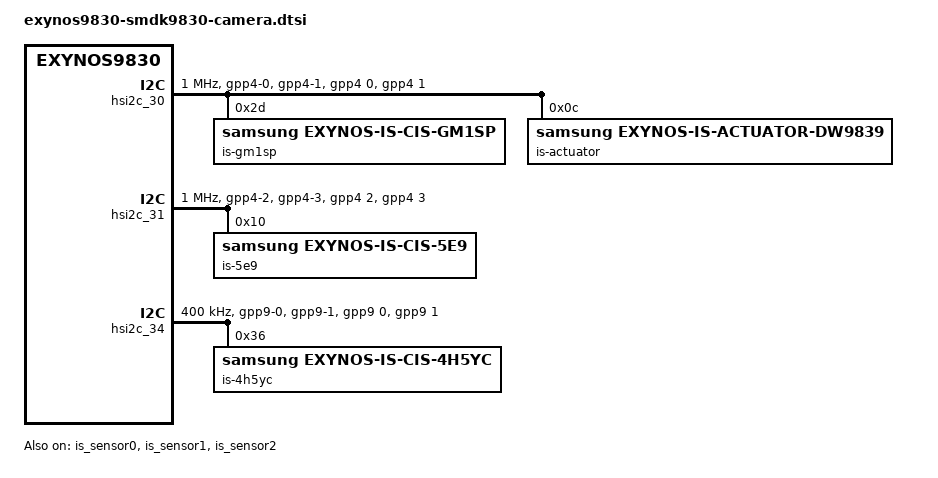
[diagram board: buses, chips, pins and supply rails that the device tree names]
/*
 * Samsung Exynos SoC series Pablo driver
 *
 * Copyright (c) 2019 Samsung Electronics Co., Ltd
 *
 * This program is free software; you can redistribute it and/or modify
 * it under the terms of the GNU General Public License version 2 as
 * published by the Free Software Foundation.
 */

#include <dt-bindings/camera/exynos_is_dt.h>
#include <dt-bindings/interrupt-controller/exynos9830.h>
#include <dt-bindings/clock/exynos9830.h>
#include "camera/module_gm1sp.dtsi"
#include "camera/module_5e9.dtsi"
#include "camera/module_4h5yc.dtsi"

/ {
	fragment@camera {
		target-path = "/";
		__overlay__ {
			/* REAR CAMERA */
			is_sensor_gm1sp: is_sensor_gm1sp@43 {
				pinctrl-names = "pin0", "pin1", "pin2", "release";
				pinctrl-0 = <>;
				pinctrl-1 = <&sensor_mclk0_out>;
				pinctrl-2 = <&sensor_mclk0_fn>;
				pinctrl-3 = <>;

				position = <0>; /* Rear:0. Front:1 */
				id = <0>; /* sensor node id */
				mclk_ch = <0>;
				sensor_i2c_ch = <0>; /* I2C 0 */

				status = "okay";

				af {
					product_name = <23>; /* ACTUATOR_NAME_DW9839 */
					i2c_ch = <0>; /* SENSOR_CONTROL_I2C0 */
				};

				power_seq {
					gpio_mclk = <&gpc0 0 0x1>;

					scenario_normal_on {
						/* A start node number should be over the 10 for reserved number 0~9. */
						/* pname = "name"; pin = <act value dealy voltage>; gpio = <gpx# # 0x1>; */
						10 { pname = "MCLK"; pin = <PIN_MCLK 1 0>; };
						20 { pname = "sen_rst low"; pin = <PIN_OUTPUT 0 0>; gpio = <&gpp9 4 0x1>; };
						30 { pname = "S2MPB02_LDO12"; pin = <PIN_REGULATOR 1 0>; };
						40 { pname = "S2MPB02_LDO13"; pin = <PIN_REGULATOR 1 0>; };
						50 { pname = "S2MPB02_LDO7"; pin = <PIN_REGULATOR 1 0>; };
						60 { pname = "S2MPB02_LDO10"; pin = <PIN_REGULATOR 1 0>; };
						61 { pname = "S2MPB02_LDO16"; pin = <PIN_REGULATOR 1 0>; };
						70 { pname = "S2MPB02_BUCK2"; pin = <PIN_REGULATOR 1 0>; };
						80 { pname = "on_i2c"; pin = <PIN_I2C 1 0>; };
						90 { pname = "pin"; pin = <PIN_FUNCTION 2 0>; };
						100 { pname = "sen_rst high"; pin = <PIN_OUTPUT 1 2000>; gpio = <&gpp9 4 0x1>; };
					};

					scenario_normal_off {
						/* A start node number should be over the 10 for reserved number 0~9. */
						/* pname = "name"; pin = <act value dealy voltage>; gpio = <gpx# # 0x1>; */
						10 { pname = "sen_rst"; pin = <PIN_RESET 0 10>; gpio = <&gpp9 4 0x1>; };
						20 { pname = "sen_rst input"; pin = <PIN_INPUT 0 0>; gpio = <&gpp9 4 0x1>; };
						30 { pname = "S2MPB02_LDO12"; pin = <PIN_REGULATOR 0 0>; };
						40 { pname = "S2MPB02_LDO13"; pin = <PIN_REGULATOR 0 0>; };
						50 { pname = "S2MPB02_LDO7"; pin = <PIN_REGULATOR 0 0>; };
						60 { pname = "S2MPB02_LDO10"; pin = <PIN_REGULATOR 0 0>; };
						61 { pname = "S2MPB02_LDO16"; pin = <PIN_REGULATOR 0 0>; };
						70 { pname = "S2MPB02_BUCK2"; pin = <PIN_REGULATOR 0 0>; };
						80 { pname = "off_i2c"; pin = <PIN_I2C 0 0>; };
						90 { pname = "pin"; pin = <PIN_FUNCTION 0 0>; };
						100 { pname = "pin"; pin = <PIN_FUNCTION 1 0>; };
						110 { pname = "pin"; pin = <PIN_FUNCTION 0 0>; };
						120 { pname = "MCLK"; pin = <PIN_MCLK 0 0>; };
					};

					scenario_vision_on {
						sensor_scenario = <SENSOR_SCENARIO_VISION>;
						gpio_scenario = <GPIO_SCENARIO_ON>;

						/* A start node number should be over the 10 for reserved number 0~9. */
						/* pname = "name"; pin = <act value dealy voltage>; gpio = <gpx# # 0x1>; */
						10 { pname = "MCLK"; pin = <PIN_MCLK 1 0>; };
						20 { pname = "sen_rst low"; pin = <PIN_OUTPUT 0 0>; gpio = <&gpp9 4 0x1>; };
						30 { pname = "S2MPB02_LDO12"; pin = <PIN_REGULATOR 1 0>; };
						40 { pname = "S2MPB02_LDO13"; pin = <PIN_REGULATOR 1 0>; };
						50 { pname = "S2MPB02_LDO7"; pin = <PIN_REGULATOR 1 0>; };
						60 { pname = "S2MPB02_LDO10"; pin = <PIN_REGULATOR 1 0>; };
						61 { pname = "S2MPB02_LDO16"; pin = <PIN_REGULATOR 1 0>; };
						70 { pname = "S2MPB02_BUCK2"; pin = <PIN_REGULATOR 1 0>; };
						80 { pname = "on_i2c"; pin = <PIN_I2C 1 0>; };
						90 { pname = "pin"; pin = <PIN_FUNCTION 2 0>; };
						100 { pname = "sen_rst high"; pin = <PIN_OUTPUT 1 2000>; gpio = <&gpp9 4 0x1>; };
					};

					scenario_vision_off {
						sensor_scenario = <SENSOR_SCENARIO_VISION>;
						gpio_scenario = <GPIO_SCENARIO_OFF>;

						/* A start node number should be over the 10 for reserved number 0~9. */
						/* pname = "name"; pin = <act value dealy voltage>; gpio = <gpx# # 0x1>; */
						10 { pname = "sen_rst"; pin = <PIN_RESET 0 10>; gpio = <&gpp9 4 0x1>; };
						20 { pname = "sen_rst input"; pin = <PIN_INPUT 0 0>; gpio = <&gpp9 4 0x1>; };
						30 { pname = "S2MPB02_LDO12"; pin = <PIN_REGULATOR 0 0>; };
						40 { pname = "S2MPB02_LDO13"; pin = <PIN_REGULATOR 0 0>; };
						50 { pname = "S2MPB02_LDO7"; pin = <PIN_REGULATOR 0 0>; };
						60 { pname = "S2MPB02_LDO10"; pin = <PIN_REGULATOR 0 0>; };
						61 { pname = "S2MPB02_LDO16"; pin = <PIN_REGULATOR 0 0>; };
						70 { pname = "S2MPB02_BUCK2"; pin = <PIN_REGULATOR 0 0>; };
						80 { pname = "off_i2c"; pin = <PIN_I2C 0 0>; };
						90 { pname = "pin"; pin = <PIN_FUNCTION 0 0>; };
						100 { pname = "pin"; pin = <PIN_FUNCTION 1 0>; };
						110 { pname = "pin"; pin = <PIN_FUNCTION 0 0>; };
						120 { pname = "MCLK"; pin = <PIN_MCLK 0 0>; };
					};

				};
			};

			/* FRONT CAMERA */
			is_sensor_4h5yc: is_sensor_4h5yc@24 {
				pinctrl-names = "pin0", "pin1", "pin2", "release";
				pinctrl-0 = <>;
				pinctrl-1 = <&sensor_mclk1_out>;
				pinctrl-2 = <&sensor_mclk1_fn>;
				pinctrl-3 = <>;

				position = <1>; /* Rear:0. Front:1 */
				id = <1>; /* sensor node id */
				mclk_ch = <4>;
				sensor_i2c_ch = <1>;
				sensor_i2c_addr = <0x36>;

				status = "okay";

				power_seq {
					gpio_mclk = <&gpg1 1 0x1>;

					scenario_normal_on {
						/* A start node number should be over the 10 for reserved number 0~9. */
						/* pname = "name"; pin = <act value dealy voltage>; gpio = <gpx# # 0x1>; */
						10 { pname = "sen_rst low"; pin = <PIN_OUTPUT 0 0>; gpio = <&gpp6 6 0x1>; };
						20 { pname = "S2MPB02_LDO15"; pin = <PIN_REGULATOR 1 0>; };
						30 { pname = "S2MPB02_LDO8"; pin = <PIN_REGULATOR 1 0>; };
						40 { pname = "S2MPB02_LDO4"; pin = <PIN_REGULATOR 1 0>; };
						50 { pname = "on_i2c"; pin = <PIN_I2C 1 0>; };
						60 { pname = "pin"; pin = <PIN_FUNCTION 2 0>; };
						70 { pname = "MCLK"; pin = <PIN_MCLK 1 0>; };
						80 { pname = "sen_rst high"; pin = <PIN_OUTPUT 1 0>; gpio = <&gpp6 6 0x1>; };
					};

					scenario_normal_off {
						/* A start node number should be over the 10 for reserved number 0~9. */
						/* pname = "name"; pin = <act value dealy voltage>; gpio = <gpx# # 0x1>; */
						10 { pname = "S2MPB02_LDO15"; pin = <PIN_REGULATOR 0 0>; };
						20 { pname = "S2MPB02_LDO8"; pin = <PIN_REGULATOR 0 0>; };
						30 { pname = "MCLK"; pin = <PIN_MCLK 0 0>; };
						40 { pname = "pin"; pin = <PIN_FUNCTION 0 0>; };
						50 { pname = "sen_rst"; pin = <PIN_OUTPUT 0 0>; gpio = <&gpp6 6 0x1>; };
						60 { pname = "off_i2c"; pin = <PIN_I2C 0 0>; };
						70 { pname = "S2MPB02_LDO4"; pin = <PIN_REGULATOR 0 0>; };
					};

					scenario_vision_on {
						sensor_scenario = <SENSOR_SCENARIO_VISION>;
						gpio_scenario = <GPIO_SCENARIO_ON>;
						/* A start node number should be over the 10 for reserved number 0~9. */
						/* pname = "name"; pin = <act value dealy voltage>; gpio = <gpx# # 0x1>; */
						10 { pname = "sen_rst low"; pin = <PIN_OUTPUT 0 0>; gpio = <&gpp6 6 0x1>; };
						20 { pname = "S2MPB02_LDO15"; pin = <PIN_REGULATOR 1 0>; };
						30 { pname = "S2MPB02_LDO8"; pin = <PIN_REGULATOR 1 0>; };
						40 { pname = "S2MPB02_LDO4"; pin = <PIN_REGULATOR 1 0>; };
						50 { pname = "on_i2c"; pin = <PIN_I2C 1 0>; };
						60 { pname = "pin"; pin = <PIN_FUNCTION 2 0>; };
						70 { pname = "MCLK"; pin = <PIN_MCLK 1 0>; };
						80 { pname = "sen_rst high"; pin = <PIN_OUTPUT 1 0>; gpio = <&gpp6 6 0x1>; };
					};

					scenario_vision_off {
						sensor_scenario = <SENSOR_SCENARIO_VISION>;
						gpio_scenario = <GPIO_SCENARIO_OFF>;
						/* A start node number should be over the 10 for reserved number 0~9. */
						/* pname = "name"; pin = <act value dealy voltage>; gpio = <gpx# # 0x1>; */
						10 { pname = "S2MPB02_LDO15"; pin = <PIN_REGULATOR 0 0>; };
						20 { pname = "S2MPB02_LDO8"; pin = <PIN_REGULATOR 0 0>; };
						30 { pname = "MCLK"; pin = <PIN_MCLK 0 0>; };
						40 { pname = "pin"; pin = <PIN_FUNCTION 0 0>; };
						50 { pname = "sen_rst"; pin = <PIN_OUTPUT 0 0>; gpio = <&gpp6 6 0x1>; };
						60 { pname = "off_i2c"; pin = <PIN_I2C 0 0>; };
						70 { pname = "S2MPB02_LDO4"; pin = <PIN_REGULATOR 0 0>; };
					};

				};

			};

			/* Rear Sub CAMERA */
			is_sensor_5e9: is_sensor_5e9@41 {
				pinctrl-names = "pin0", "pin1", "pin2", "release";
				pinctrl-0 = <>;
				pinctrl-1 = <&sensor_mclk2_out>;
				pinctrl-2 = <&sensor_mclk2_fn>;
				pinctrl-3 = <>;

				/* board */
				position = <2>; /* Rear:0. Front:1, Tele:2 */
				id = <2>; /* fimc_is_sensor id */
				mclk_ch = <1>;
				sensor_i2c_ch = <2>; /* SENSOR_CONTROL_I2C2 */

				af {
					product_name = <100>; /* NOTHING */
				};

				flash {
					product_name = <100>; /* NOTHING */
				};

				preprocessor {
					product_name = <100>; /* NOTHING */
				};

				ois {
					product_name = <100>; /* NOTHING */
				};

				power_seq {
					use = <1>;
					gpio_mclk = <&gpc0 1 0x1>;

					scenario_normal_on {
						sensor_scenario = <SENSOR_SCENARIO_NORMAL>;
						gpio_scenario = <GPIO_SCENARIO_ON>;

						/* A start node number should be over the 10 for reserved number 0~9. */
						/* pname = "name"; pin = <act value dealy voltage>; gpio = <gpx# # 0x1>; */
						10 { pname = "MCLK"; pin = <PIN_MCLK 1 0>; };
						20 { pname = "sen_rst low"; pin = <PIN_OUTPUT 0 0>; gpio = <&gpp6 2 0x1>; };
						30 { pname = "m_vdd_ldo29"; pin = <PIN_REGULATOR 1 0>; };
						40 { pname = "m_vdd_ldo21"; pin = <PIN_REGULATOR 1 0>; };
						50 { pname = "S2MPB02_LDO3"; pin = <PIN_REGULATOR 1 0>; };
						60 { pname = "pin"; pin = <PIN_FUNCTION 2 1000>; };
						70 { pname = "sen_rst high"; pin = <PIN_OUTPUT 1 1000>; gpio = <&gpp6 2 0x1>; };
						80 { pname = "on_i2c"; pin = <PIN_I2C 1 0>; };
					};

					scenario_normal_off {
						sensor_scenario = <SENSOR_SCENARIO_NORMAL>;
						gpio_scenario = <GPIO_SCENARIO_OFF>;

						/* A start node number should be over the 10 for reserved number 0~9. */
						/* pname = "name"; pin = <act value dealy voltage>; gpio = <gpx# # 0x1>; */
						10 { pname = "pin"; pin = <PIN_FUNCTION 0 0>; };
						20 { pname = "pin"; pin = <PIN_FUNCTION 1 0>; };
						30 { pname = "pin"; pin = <PIN_FUNCTION 0 0>; };
						40 { pname = "m_vdd_ldo29"; pin = <PIN_REGULATOR 0 0>; };
						50 { pname = "S2MPB02_LDO3"; pin = <PIN_REGULATOR 0 0>; };
						60 { pname = "m_vdd_ldo21"; pin = <PIN_REGULATOR 0 0>; };
						70 { pname = "sen_rst"; pin = <PIN_OUTPUT 0 0>; gpio = <&gpp6 2 0x1>; };
						80 { pname = "MCLK"; pin = <PIN_MCLK 0 0>; };
						90 { pname = "off_i2c"; pin = <PIN_I2C 0 0>; };
					};

					scenario_vision_on {
						sensor_scenario = <SENSOR_SCENARIO_VISION>;
						gpio_scenario = <GPIO_SCENARIO_ON>;

						/* A start node number should be over the 10 for reserved number 0~9. */
						/* pname = "name"; pin = <act value dealy voltage>; gpio = <gpx# # 0x1>; */
						10 { pname = "MCLK"; pin = <PIN_MCLK 1 0>; };
						20 { pname = "sen_rst low"; pin = <PIN_OUTPUT 0 0>; gpio = <&gpp6 2 0x1>; };
						30 { pname = "m_vdd_ldo29"; pin = <PIN_REGULATOR 1 0>; };
						40 { pname = "m_vdd_ldo21"; pin = <PIN_REGULATOR 1 0>; };
						50 { pname = "S2MPB02_LDO3"; pin = <PIN_REGULATOR 1 0>; };
						60 { pname = "pin"; pin = <PIN_FUNCTION 2 1000>; };
						70 { pname = "sen_rst high"; pin = <PIN_OUTPUT 1 1000>; gpio = <&gpp6 2 0x1>; };
						80 { pname = "on_i2c"; pin = <PIN_I2C 1 0>; };
					};

					scenario_vision_off {
						sensor_scenario = <SENSOR_SCENARIO_VISION>;
						gpio_scenario = <GPIO_SCENARIO_OFF>;

						/* A start node number should be over the 10 for reserved number 0~9. */
						/* pname = "name"; pin = <act value dealy voltage>; gpio = <gpx# # 0x1>; */
						10 { pname = "pin"; pin = <PIN_FUNCTION 0 0>; };
						20 { pname = "pin"; pin = <PIN_FUNCTION 1 0>; };
						30 { pname = "pin"; pin = <PIN_FUNCTION 0 0>; };
						40 { pname = "m_vdd_ldo29"; pin = <PIN_REGULATOR 0 0>; };
						50 { pname = "S2MPB02_LDO3"; pin = <PIN_REGULATOR 0 0>; };
						60 { pname = "m_vdd_ldo21"; pin = <PIN_REGULATOR 0 0>; };
						70 { pname = "sen_rst"; pin = <PIN_OUTPUT 0 0>; gpio = <&gpp6 2 0x1>; };
						80 { pname = "MCLK"; pin = <PIN_MCLK 0 0>; };
						90 { pname = "off_i2c"; pin = <PIN_I2C 0 0>; };
					};
				};
			};

		}; /* end of __overlay__ */
	}; /* end of fragment */
}; /* end of root */

/***** reference symbol node *****/

&exynos_is {
	vender {
		rear_sensor_id = <43>; /* GM1SP */
		front_sensor_id = <24>; /* 4H5YC */
		rear2_sensor_id = <41>; /* 5E9 */
	};

	lic_offsets {
		/* 3AA = <setA lic offset0, setA lic offset1, set A trigger context */
		/* 			setB lic offset0, setB lic offset1, set B trigger context> */
		/* 4672: 4640x4352 */
		/* 5824: 5804x4352 */
		3AA = <4672 10496 1 4064 13344 2>;
	};

	is_dvfs {
		#define DVFS_INT_CAM_L0 690000
		#define DVFS_INT_CAM_L1 680000
		#define DVFS_INT_CAM_L2 670000
		#define DVFS_INT_CAM_L3 660000
		#define DVFS_INT_CAM_L4 650000
		#define DVFS_INT_CAM_L5 640000
		#define DVFS_INT_CAM_L6 630000
		#define DVFS_INT_CAM_L7 620000

		#define DVFS_TNR_L0 690000
		#define DVFS_TNR_L1 680000
		#define DVFS_TNR_L2 670000
		#define DVFS_TNR_L3 660000
		#define DVFS_TNR_L4 650000
		#define DVFS_TNR_L5 640000
		#define DVFS_TNR_L6 630000

		#define DVFS_GDC_L0 690000

		#define DVFS_INT_L0 534000
		#define DVFS_INT_L1 400000
		#define DVFS_INT_L2 267000
		#define DVFS_INT_L3 200000
		#define DVFS_INT_L4 133000

		#define DVFS_CAM_L0 690000
		#define DVFS_CAM_L1 680000
		#define DVFS_CAM_L2 670000
		#define DVFS_CAM_L3 660000
		#define DVFS_CAM_L4 650000

		#define DVFS_MIF_L0 2704000 /* Currently not avaiable */
		#define DVFS_MIF_L1 2392000	/* Currently not avaiable  */
		#define DVFS_MIF_L2 2093000	/* Currently not avaiable  */
		#define DVFS_MIF_L3 1794000	/* Currently not avaiable  */
		#define DVFS_MIF_L4 1539000	/* EVT0 maximum frequency */
		#define DVFS_MIF_L5 1352000
		#define DVFS_MIF_L6 1014000
		#define DVFS_MIF_L7 845000
		#define DVFS_MIF_L8 676000
		#define DVFS_MIF_L9 546000
		#define DVFS_MIF_L10 421000

		table0 {
			desc = "dvfs table v0.7 for 12M/16M";

			default_int_cam = <DVFS_INT_CAM_L0>;
			default_tnr = <DVFS_TNR_L0>;
			default_cam = <DVFS_CAM_L0>;
			default_mif = <DVFS_MIF_L4>;
			default_int = <DVFS_INT_L0>;
			default_hpg = <1>;

			front2_preview_int_cam = <DVFS_INT_CAM_L5>;
			front2_preview_tnr = <DVFS_TNR_L5>;
			front2_preview_cam = <DVFS_CAM_L4>;
			front2_preview_mif = <DVFS_MIF_L6>;
			front2_preview_int = <DVFS_INT_L4>;
			front2_preview_hpg = <1>;

			front2_capture_int_cam = <DVFS_INT_CAM_L3>;
			front2_capture_tnr = <DVFS_TNR_L3>;
			front2_capture_cam = <DVFS_CAM_L4>;
			front2_capture_mif = <DVFS_MIF_L3>;
			front2_capture_int = <DVFS_INT_L4>;
			front2_capture_hpg = <1>;

			front2_video_int_cam = <DVFS_INT_CAM_L5>;
			front2_video_tnr = <DVFS_TNR_L5>;
			front2_video_cam = <DVFS_CAM_L4>;
			front2_video_mif = <DVFS_MIF_L6>;
			front2_video_int = <DVFS_INT_L4>;
			front2_video_hpg = <1>;

			front2_video_capture_int_cam = <DVFS_INT_CAM_L3>;
			front2_video_capture_tnr = <DVFS_TNR_L3>;
			front2_video_capture_cam = <DVFS_CAM_L4>;
			front2_video_capture_mif = <DVFS_MIF_L3>;
			front2_video_capture_int = <DVFS_INT_L4>;
			front2_video_capture_hpg = <1>;

			front_preview_int_cam = <DVFS_INT_CAM_L5>;
			front_preview_tnr = <DVFS_TNR_L5>;
			front_preview_cam = <DVFS_CAM_L4>;
			front_preview_mif = <DVFS_MIF_L6>;
			front_preview_int = <DVFS_INT_L4>;
			front_preview_hpg = <1>;

			front_preview_full_int_cam = <DVFS_INT_CAM_L5>;
			front_preview_full_tnr = <DVFS_TNR_L5>;
			front_preview_full_cam = <DVFS_CAM_L4>;
			front_preview_full_mif = <DVFS_MIF_L6>;
			front_preview_full_int = <DVFS_INT_L4>;
			front_preview_full_hpg = <1>;

			front_capture_int_cam = <DVFS_INT_CAM_L3>;
			front_capture_tnr = <DVFS_TNR_L3>;
			front_capture_cam = <DVFS_CAM_L4>;
			front_capture_mif = <DVFS_MIF_L3>;
			front_capture_int = <DVFS_INT_L4>;
			front_capture_hpg = <1>;

			front_video_int_cam = <DVFS_INT_CAM_L5>;
			front_video_tnr = <DVFS_TNR_L5>;
			front_video_cam = <DVFS_CAM_L4>;
			front_video_mif = <DVFS_MIF_L6>;
			front_video_int = <DVFS_INT_L4>;
			front_video_hpg = <1>;

			front_video_whd_int_cam = <DVFS_INT_CAM_L5>;
			front_video_whd_tnr = <DVFS_TNR_L5>;
			front_video_whd_cam = <DVFS_CAM_L4>;
			front_video_whd_mif = <DVFS_MIF_L6>;
			front_video_whd_int = <DVFS_INT_L4>;
			front_video_whd_hpg = <1>;

			front_video_uhd_int_cam = <DVFS_INT_CAM_L5>;
			front_video_uhd_tnr = <DVFS_TNR_L5>;
			front_video_uhd_cam = <DVFS_CAM_L4>;
			front_video_uhd_mif = <DVFS_MIF_L6>;
			front_video_uhd_int = <DVFS_INT_L4>;
			front_video_uhd_hpg = <1>;

			front_video_capture_int_cam = <DVFS_INT_CAM_L3>;
			front_video_capture_tnr = <DVFS_TNR_L3>;
			front_video_capture_cam = <DVFS_CAM_L4>;
			front_video_capture_mif = <DVFS_MIF_L3>;
			front_video_capture_int = <DVFS_INT_L4>;
			front_video_capture_hpg = <1>;

			front_video_whd_capture_int_cam = <DVFS_INT_CAM_L3>;
			front_video_whd_capture_tnr = <DVFS_TNR_L3>;
			front_video_whd_capture_cam = <DVFS_CAM_L4>;
			front_video_whd_capture_mif = <DVFS_MIF_L3>;
			front_video_whd_capture_int = <DVFS_INT_L4>;
			front_video_whd_capture_hpg = <1>;

			front_video_uhd_capture_int_cam = <DVFS_INT_CAM_L3>;
			front_video_uhd_capture_tnr = <DVFS_TNR_L3>;
			front_video_uhd_capture_cam = <DVFS_CAM_L4>;
			front_video_uhd_capture_mif = <DVFS_MIF_L3>;
			front_video_uhd_capture_int = <DVFS_INT_L4>;
			front_video_uhd_capture_hpg = <1>;

			front_dual_sync_preview_int_cam = <DVFS_INT_CAM_L5>;
			front_dual_sync_preview_tnr = <DVFS_TNR_L5>;
			front_dual_sync_preview_cam = <DVFS_CAM_L4>;
			front_dual_sync_preview_mif = <DVFS_MIF_L6>;
			front_dual_sync_preview_int = <DVFS_INT_L4>;
			front_dual_sync_preview_hpg = <1>;

			front_dual_sync_capture_int_cam = <DVFS_INT_CAM_L3>;
			front_dual_sync_capture_tnr = <DVFS_TNR_L3>;
			front_dual_sync_capture_cam = <DVFS_CAM_L4>;
			front_dual_sync_capture_mif = <DVFS_MIF_L3>;
			front_dual_sync_capture_int = <DVFS_INT_L4>;
			front_dual_sync_capture_hpg = <1>;

			front_dual_sync_video_fhd_int_cam = <DVFS_INT_CAM_L5>;
			front_dual_sync_video_fhd_tnr = <DVFS_TNR_L5>;
			front_dual_sync_video_fhd_cam = <DVFS_CAM_L4>;
			front_dual_sync_video_fhd_mif = <DVFS_MIF_L6>;
			front_dual_sync_video_fhd_int = <DVFS_INT_L4>;
			front_dual_sync_video_fhd_hpg = <1>;

			front_dual_sync_video_fhd_capture_int_cam = <DVFS_INT_CAM_L3>;
			front_dual_sync_video_fhd_capture_tnr = <DVFS_TNR_L3>;
			front_dual_sync_video_fhd_capture_cam = <DVFS_CAM_L4>;
			front_dual_sync_video_fhd_capture_mif = <DVFS_MIF_L3>;
			front_dual_sync_video_fhd_capture_int = <DVFS_INT_L4>;
			front_dual_sync_video_fhd_capture_hpg = <1>;

			front_vt1_int_cam = <DVFS_INT_CAM_L5>;
			front_vt1_tnr = <DVFS_TNR_L5>;
			front_vt1_cam = <DVFS_CAM_L4>;
			front_vt1_mif = <DVFS_MIF_L6>;
			front_vt1_int = <DVFS_INT_L4>;
			front_vt1_hpg = <1>;

			front_vt2_int_cam = <DVFS_INT_CAM_L5>;
			front_vt2_tnr = <DVFS_TNR_L5>;
			front_vt2_cam = <DVFS_CAM_L4>;
			front_vt2_mif = <DVFS_MIF_L6>;
			front_vt2_int = <DVFS_INT_L4>;
			front_vt2_hpg = <1>;

			front_vt4_int_cam = <DVFS_INT_CAM_L5>;
			front_vt4_tnr = <DVFS_TNR_L5>;
			front_vt4_cam = <DVFS_CAM_L4>;
			front_vt4_mif = <DVFS_MIF_L6>;
			front_vt4_int = <DVFS_INT_L4>;
			front_vt4_hpg = <1>;

			front_preview_high_speed_fps_int_cam = <DVFS_INT_CAM_L3>;
			front_preview_high_speed_fps_tnr = <DVFS_TNR_L3>;
			front_preview_high_speed_fps_cam = <DVFS_CAM_L4>;
			front_preview_high_speed_fps_mif = <DVFS_MIF_L3>;
			front_preview_high_speed_fps_int = <DVFS_INT_L0>;
			front_preview_high_speed_fps_hpg = <1>;

			rear3_preview_fhd_int_cam = <DVFS_INT_CAM_L5>;
			rear3_preview_fhd_tnr = <DVFS_TNR_L5>;
			rear3_preview_fhd_cam = <DVFS_CAM_L4>;
			rear3_preview_fhd_mif = <DVFS_MIF_L6>;
			rear3_preview_fhd_int = <DVFS_INT_L4>;
			rear3_preview_fhd_hpg = <1>;

			rear3_capture_int_cam = <DVFS_INT_CAM_L3>;
			rear3_capture_tnr = <DVFS_TNR_L3>;
			rear3_capture_cam = <DVFS_CAM_L4>;
			rear3_capture_mif = <DVFS_MIF_L3>;
			rear3_capture_int = <DVFS_INT_L4>;
			rear3_capture_hpg = <1>;

			rear3_video_fhd_int_cam = <DVFS_INT_CAM_L5>;
			rear3_video_fhd_tnr = <DVFS_TNR_L5>;
			rear3_video_fhd_cam = <DVFS_CAM_L4>;
			rear3_video_fhd_mif = <DVFS_MIF_L6>;
			rear3_video_fhd_int = <DVFS_INT_L4>;
			rear3_video_fhd_hpg = <1>;

			rear3_video_fhd_capture_int_cam = <DVFS_INT_CAM_L3>;
			rear3_video_fhd_capture_tnr = <DVFS_TNR_L3>;
			rear3_video_fhd_capture_cam = <DVFS_CAM_L4>;
			rear3_video_fhd_capture_mif = <DVFS_MIF_L3>;
			rear3_video_fhd_capture_int = <DVFS_INT_L4>;
			rear3_video_fhd_capture_hpg = <1>;

			rear2_preview_fhd_int_cam = <DVFS_INT_CAM_L5>;
			rear2_preview_fhd_tnr = <DVFS_TNR_L5>;
			rear2_preview_fhd_cam = <DVFS_CAM_L4>;
			rear2_preview_fhd_mif = <DVFS_MIF_L6>;
			rear2_preview_fhd_int = <DVFS_INT_L4>;
			rear2_preview_fhd_hpg = <1>;

			rear2_capture_int_cam = <DVFS_INT_CAM_L3>;
			rear2_capture_tnr = <DVFS_TNR_L3>;
			rear2_capture_cam = <DVFS_CAM_L4>;
			rear2_capture_mif = <DVFS_MIF_L3>;
			rear2_capture_int = <DVFS_INT_L4>;
			rear2_capture_hpg = <1>;

			rear2_video_fhd_int_cam = <DVFS_INT_CAM_L5>;
			rear2_video_fhd_tnr = <DVFS_TNR_L5>;
			rear2_video_fhd_cam = <DVFS_CAM_L4>;
			rear2_video_fhd_mif = <DVFS_MIF_L6>;
			rear2_video_fhd_int = <DVFS_INT_L4>;
			rear2_video_fhd_hpg = <1>;

			rear2_video_fhd_capture_int_cam = <DVFS_INT_CAM_L3>;
			rear2_video_fhd_capture_tnr = <DVFS_TNR_L3>;
			rear2_video_fhd_capture_cam = <DVFS_CAM_L4>;
			rear2_video_fhd_capture_mif = <DVFS_MIF_L3>;
			rear2_video_fhd_capture_int = <DVFS_INT_L4>;
			rear2_video_fhd_capture_hpg = <1>;

			rear_preview_fhd_int_cam = <DVFS_INT_CAM_L5>;
			rear_preview_fhd_tnr = <DVFS_TNR_L5>;
			rear_preview_fhd_cam = <DVFS_CAM_L4>;
			rear_preview_fhd_mif = <DVFS_MIF_L6>;
			rear_preview_fhd_int = <DVFS_INT_L4>;
			rear_preview_fhd_hpg = <1>;

			rear_preview_whd_int_cam = <DVFS_INT_CAM_L5>;
			rear_preview_whd_tnr = <DVFS_TNR_L5>;
			rear_preview_whd_cam = <DVFS_CAM_L4>;
			rear_preview_whd_mif = <DVFS_MIF_L6>;
			rear_preview_whd_int = <DVFS_INT_L4>;
			rear_preview_whd_hpg = <1>;

			rear_preview_uhd_int_cam = <DVFS_INT_CAM_L5>;
			rear_preview_uhd_tnr = <DVFS_TNR_L5>;
			rear_preview_uhd_cam = <DVFS_CAM_L4>;
			rear_preview_uhd_mif = <DVFS_MIF_L6>;
			rear_preview_uhd_int = <DVFS_INT_L4>;
			rear_preview_uhd_hpg = <1>;

			rear_preview_uhd_60fps_int_cam = <DVFS_INT_CAM_L5>;
			rear_preview_uhd_60fps_tnr = <DVFS_TNR_L5>;
			rear_preview_uhd_60fps_cam = <DVFS_CAM_L4>;
			rear_preview_uhd_60fps_mif = <DVFS_MIF_L4>;
			rear_preview_uhd_60fps_int = <DVFS_INT_L4>;
			rear_preview_uhd_60fps_hpg = <1>;

			rear_preview_full_int_cam = <DVFS_INT_CAM_L5>;
			rear_preview_full_tnr = <DVFS_TNR_L5>;
			rear_preview_full_cam = <DVFS_CAM_L4>;
			rear_preview_full_mif = <DVFS_MIF_L6>;
			rear_preview_full_int = <DVFS_INT_L4>;
			rear_preview_full_hpg = <1>;

			rear_capture_int_cam = <DVFS_INT_CAM_L3>;
			rear_capture_tnr = <DVFS_TNR_L3>;
			rear_capture_cam = <DVFS_CAM_L4>;
			rear_capture_mif = <DVFS_MIF_L3>;
			rear_capture_int = <DVFS_INT_L4>;
			rear_capture_hpg = <1>;

			rear_video_fhd_int_cam = <DVFS_INT_CAM_L5>;
			rear_video_fhd_tnr = <DVFS_TNR_L5>;
			rear_video_fhd_cam = <DVFS_CAM_L4>;
			rear_video_fhd_mif = <DVFS_MIF_L6>;
			rear_video_fhd_int = <DVFS_INT_L4>;
			rear_video_fhd_hpg = <1>;

			rear_video_whd_int_cam = <DVFS_INT_CAM_L5>;
			rear_video_whd_tnr = <DVFS_TNR_L5>;
			rear_video_whd_cam = <DVFS_CAM_L4>;
			rear_video_whd_mif = <DVFS_MIF_L6>;
			rear_video_whd_int = <DVFS_INT_L4>;
			rear_video_whd_hpg = <1>;

			rear_video_uhd_int_cam = <DVFS_INT_CAM_L5>;
			rear_video_uhd_tnr = <DVFS_TNR_L5>;
			rear_video_uhd_cam = <DVFS_CAM_L4>;
			rear_video_uhd_mif = <DVFS_MIF_L6>;
			rear_video_uhd_int = <DVFS_INT_L4>;
			rear_video_uhd_hpg = <1>;

			rear_video_uhd_60fps_int_cam = <DVFS_INT_CAM_L5>;
			rear_video_uhd_60fps_tnr = <DVFS_TNR_L5>;
			rear_video_uhd_60fps_cam = <DVFS_CAM_L4>;
			rear_video_uhd_60fps_mif = <DVFS_MIF_L4>;
			rear_video_uhd_60fps_int = <DVFS_INT_L4>;
			rear_video_uhd_60fps_hpg = <1>;

			rear_video_fhd_capture_int_cam = <DVFS_INT_CAM_L3>;
			rear_video_fhd_capture_tnr = <DVFS_TNR_L3>;
			rear_video_fhd_capture_cam = <DVFS_CAM_L4>;
			rear_video_fhd_capture_mif = <DVFS_MIF_L4>;
			rear_video_fhd_capture_int = <DVFS_INT_L3>;
			rear_video_fhd_capture_hpg = <1>;

			rear_video_whd_capture_int_cam = <DVFS_INT_CAM_L3>;
			rear_video_whd_capture_tnr = <DVFS_TNR_L3>;
			rear_video_whd_capture_cam = <DVFS_CAM_L4>;
			rear_video_whd_capture_mif = <DVFS_MIF_L4>;
			rear_video_whd_capture_int = <DVFS_INT_L3>;
			rear_video_whd_capture_hpg = <1>;

			rear_video_uhd_capture_int_cam = <DVFS_INT_CAM_L3>;
			rear_video_uhd_capture_tnr = <DVFS_TNR_L3>;
			rear_video_uhd_capture_cam = <DVFS_CAM_L4>;
			rear_video_uhd_capture_mif = <DVFS_MIF_L4>;
			rear_video_uhd_capture_int = <DVFS_INT_L3>;
			rear_video_uhd_capture_hpg = <1>;

			dual_preview_int_cam = <DVFS_INT_CAM_L3>;
			dual_preview_tnr = <DVFS_TNR_L3>;
			dual_preview_cam = <DVFS_CAM_L4>;
			dual_preview_mif = <DVFS_MIF_L4>;
			dual_preview_int = <DVFS_INT_L4>;
			dual_preview_hpg = <1>;

			dual_capture_int_cam = <DVFS_INT_CAM_L3>;
			dual_capture_tnr = <DVFS_TNR_L3>;
			dual_capture_cam = <DVFS_CAM_L4>;
			dual_capture_mif = <DVFS_MIF_L4>;
			dual_capture_int = <DVFS_INT_L4>;
			dual_capture_hpg = <1>;

			dual_video_fhd_int_cam = <DVFS_INT_CAM_L3>;
			dual_video_fhd_tnr = <DVFS_TNR_L3>;
			dual_video_fhd_cam = <DVFS_CAM_L4>;
			dual_video_fhd_mif = <DVFS_MIF_L4>;
			dual_video_fhd_int = <DVFS_INT_L4>;
			dual_video_fhd_hpg = <1>;

			dual_video_fhd_capture_int_cam = <DVFS_INT_CAM_L3>;
			dual_video_fhd_capture_tnr = <DVFS_TNR_L3>;
			dual_video_fhd_capture_cam = <DVFS_CAM_L4>;
			dual_video_fhd_capture_mif = <DVFS_MIF_L4>;
			dual_video_fhd_capture_int = <DVFS_INT_L4>;
			dual_video_fhd_capture_hpg = <1>;

			dual_video_uhd_int_cam = <DVFS_INT_CAM_L3>;
			dual_video_uhd_tnr = <DVFS_TNR_L3>;
			dual_video_uhd_cam = <DVFS_CAM_L4>;
			dual_video_uhd_mif = <DVFS_MIF_L4>;
			dual_video_uhd_int = <DVFS_INT_L4>;
			dual_video_uhd_hpg = <1>;

			dual_video_uhd_capture_int_cam = <DVFS_INT_CAM_L3>;
			dual_video_uhd_capture_tnr = <DVFS_TNR_L3>;
			dual_video_uhd_capture_cam = <DVFS_CAM_L4>;
			dual_video_uhd_capture_mif = <DVFS_MIF_L4>;
			dual_video_uhd_capture_int = <DVFS_INT_L4>;
			dual_video_uhd_capture_hpg = <1>;

			dual_sync_preview_int_cam = <DVFS_INT_CAM_L3>;
			dual_sync_preview_tnr = <DVFS_TNR_L3>;
			dual_sync_preview_cam = <DVFS_CAM_L4>;
			dual_sync_preview_mif = <DVFS_MIF_L4>;
			dual_sync_preview_int = <DVFS_INT_L4>;
			dual_sync_preview_hpg = <1>;

			dual_sync_capture_int_cam = <DVFS_INT_CAM_L3>;
			dual_sync_capture_tnr = <DVFS_TNR_L3>;
			dual_sync_capture_cam = <DVFS_CAM_L4>;
			dual_sync_capture_mif = <DVFS_MIF_L4>;
			dual_sync_capture_int = <DVFS_INT_L4>;
			dual_sync_capture_hpg = <1>;

			dual_sync_preview_whd_int_cam = <DVFS_INT_CAM_L3>;
			dual_sync_preview_whd_tnr = <DVFS_TNR_L3>;
			dual_sync_preview_whd_cam = <DVFS_CAM_L4>;
			dual_sync_preview_whd_mif = <DVFS_MIF_L4>;
			dual_sync_preview_whd_int = <DVFS_INT_L4>;
			dual_sync_preview_whd_hpg = <1>;

			dual_sync_whd_capture_int_cam = <DVFS_INT_CAM_L3>;
			dual_sync_whd_capture_tnr = <DVFS_TNR_L3>;
			dual_sync_whd_capture_cam = <DVFS_CAM_L4>;
			dual_sync_whd_capture_mif = <DVFS_MIF_L4>;
			dual_sync_whd_capture_int = <DVFS_INT_L4>;
			dual_sync_whd_capture_hpg = <1>;

			dual_sync_video_fhd_int_cam = <DVFS_INT_CAM_L3>;
			dual_sync_video_fhd_tnr = <DVFS_TNR_L3>;
			dual_sync_video_fhd_cam = <DVFS_CAM_L4>;
			dual_sync_video_fhd_mif = <DVFS_MIF_L4>;
			dual_sync_video_fhd_int = <DVFS_INT_L4>;
			dual_sync_video_fhd_hpg = <1>;

			dual_sync_video_fhd_capture_int_cam = <DVFS_INT_CAM_L3>;
			dual_sync_video_fhd_capture_tnr = <DVFS_TNR_L3>;
			dual_sync_video_fhd_capture_cam = <DVFS_CAM_L4>;
			dual_sync_video_fhd_capture_mif = <DVFS_MIF_L4>;
			dual_sync_video_fhd_capture_int = <DVFS_INT_L4>;
			dual_sync_video_fhd_capture_hpg = <1>;

			dual_sync_video_uhd_int_cam = <DVFS_INT_CAM_L3>;
			dual_sync_video_uhd_tnr = <DVFS_TNR_L3>;
			dual_sync_video_uhd_cam = <DVFS_CAM_L4>;
			dual_sync_video_uhd_mif = <DVFS_MIF_L4>;
			dual_sync_video_uhd_int = <DVFS_INT_L4>;
			dual_sync_video_uhd_hpg = <1>;

			dual_sync_video_uhd_capture_int_cam = <DVFS_INT_CAM_L3>;
			dual_sync_video_uhd_capture_tnr = <DVFS_TNR_L3>;
			dual_sync_video_uhd_capture_cam = <DVFS_CAM_L4>;
			dual_sync_video_uhd_capture_mif = <DVFS_MIF_L4>;
			dual_sync_video_uhd_capture_int = <DVFS_INT_L4>;
			dual_sync_video_uhd_capture_hpg = <1>;

			secure_front_int_cam = <DVFS_INT_CAM_L5>;
			secure_front_tnr = <DVFS_TNR_L5>;
			secure_front_cam = <DVFS_CAM_L4>;
			secure_front_mif = <DVFS_MIF_L4>;
			secure_front_int = <DVFS_INT_L4>;
			secure_front_hpg = <1>;

			pip_preview_int_cam = <DVFS_INT_CAM_L3>;
			pip_preview_tnr = <DVFS_TNR_L3>;
			pip_preview_cam = <DVFS_CAM_L4>;
			pip_preview_mif = <DVFS_MIF_L4>;
			pip_preview_int = <DVFS_INT_L4>;
			pip_preview_hpg = <1>;

			pip_capture_int_cam = <DVFS_INT_CAM_L3>;
			pip_capture_tnr = <DVFS_TNR_L3>;
			pip_capture_cam = <DVFS_CAM_L4>;
			pip_capture_mif = <DVFS_MIF_L3>;
			pip_capture_int = <DVFS_INT_L4>;
			pip_capture_hpg = <1>;

			pip_video_int_cam = <DVFS_INT_CAM_L3>;
			pip_video_tnr = <DVFS_TNR_L3>;
			pip_video_cam = <DVFS_CAM_L4>;
			pip_video_mif = <DVFS_MIF_L4>;
			pip_video_int = <DVFS_INT_L4>;
			pip_video_hpg = <1>;

			pip_video_capture_int_cam = <DVFS_INT_CAM_L3>;
			pip_video_capture_tnr = <DVFS_TNR_L3>;
			pip_video_capture_cam = <DVFS_CAM_L4>;
			pip_video_capture_mif = <DVFS_MIF_L3>;
			pip_video_capture_int = <DVFS_INT_L4>;
			pip_video_capture_hpg = <1>;

			preview_high_speed_fps_int_cam = <DVFS_INT_CAM_L5>;
			preview_high_speed_fps_tnr = <DVFS_TNR_L5>;
			preview_high_speed_fps_cam = <DVFS_CAM_L4>;
			preview_high_speed_fps_mif = <DVFS_MIF_L4>;
			preview_high_speed_fps_int = <DVFS_INT_L4>;
			preview_high_speed_fps_hpg = <1>;

			video_high_speed_60fps_int_cam = <DVFS_INT_CAM_L5>;
			video_high_speed_60fps_tnr = <DVFS_TNR_L5>;
			video_high_speed_60fps_cam = <DVFS_CAM_L4>;
			video_high_speed_60fps_mif = <DVFS_MIF_L4>;
			video_high_speed_60fps_int = <DVFS_INT_L4>;
			video_high_speed_60fps_hpg = <1>;

			video_high_speed_120fps_int_cam = <DVFS_INT_CAM_L3>;
			video_high_speed_120fps_tnr = <DVFS_TNR_L3>;
			video_high_speed_120fps_cam = <DVFS_CAM_L4>;
			video_high_speed_120fps_mif = <DVFS_MIF_L3>;
			video_high_speed_120fps_int = <DVFS_INT_L4>;
			video_high_speed_120fps_hpg = <1>;

			video_high_speed_240fps_int_cam = <DVFS_INT_CAM_L3>;
			video_high_speed_240fps_tnr = <DVFS_TNR_L3>;
			video_high_speed_240fps_cam = <DVFS_CAM_L4>;
			video_high_speed_240fps_mif = <DVFS_MIF_L3>;
			video_high_speed_240fps_int = <DVFS_INT_L4>;
			video_high_speed_240fps_hpg = <1>;

			video_high_speed_dualfps_int_cam = <DVFS_INT_CAM_L3>;
			video_high_speed_dualfps_tnr = <DVFS_TNR_L3>;
			video_high_speed_dualfps_cam = <DVFS_CAM_L4>;
			video_high_speed_dualfps_mif = <DVFS_MIF_L3>;
			video_high_speed_dualfps_int = <DVFS_INT_L4>;
			video_high_speed_dualfps_hpg = <6>;

			video_high_speed_60fps_capture_int_cam = <DVFS_INT_CAM_L3>;
			video_high_speed_60fps_capture_tnr = <DVFS_TNR_L3>;
			video_high_speed_60fps_capture_cam = <DVFS_CAM_L4>;
			video_high_speed_60fps_capture_mif = <DVFS_MIF_L3>;
			video_high_speed_60fps_capture_int = <DVFS_INT_L4>;
			video_high_speed_60fps_capture_hpg = <1>;

			ext_front_int_cam = <DVFS_INT_CAM_L5>;
			ext_front_tnr = <DVFS_TNR_L5>;
			ext_front_cam = <DVFS_CAM_L4>;
			ext_front_mif = <DVFS_MIF_L4>;
			ext_front_int = <DVFS_INT_L4>;
			ext_front_hpg = <1>;

			ext_secure_int_cam = <DVFS_INT_CAM_L5>;
			ext_secure_tnr = <DVFS_TNR_L5>;
			ext_secure_cam = <DVFS_CAM_L4>;
			ext_secure_mif = <DVFS_MIF_L4>;
			ext_secure_int = <DVFS_INT_L4>;
			ext_secure_hpg = <1>;

			max_int_cam = <DVFS_INT_CAM_L0>;
			max_tnr = <DVFS_TNR_L0>;
			max_cam = <DVFS_CAM_L0>;
			max_mif = <DVFS_MIF_L4>;
			max_int = <DVFS_INT_L0>;
			max_hpg = <1>;
		};
	};
};

&pinctrl_4 {
	/* PERIC0 USI15 REAR main */
	/* No pull-up resistor, use internal one */
	hsi2c30_bus: hsi2c30-bus {
		samsung,pins = "gpp4-0", "gpp4-1";
		samsung,pin-function = <2>;
		samsung,pin-pud = <3>;
		samsung,pin-drv = <0>;
	};

	hsi2c30_bus_in: hsi2c30-bus-in {
		samsung,pins = "gpp4-0", "gpp4-1";
		samsung,pin-function = <0>;
		samsung,pin-pud = <0>;
		samsung,pin-drv = <0>;
	};

	/* PERIC0 USI15_I2C REAR sub */
	hsi2c31_bus: hsi2c31-bus {
		samsung,pins = "gpp4-2", "gpp4-3";
		samsung,pin-function = <3>;
		samsung,pin-pud = <3>;
		samsung,pin-drv = <0>;
	};

	hsi2c31_bus_in: hsi2c31-bus-in {
		samsung,pins = "gpp4-2", "gpp4-3";
		samsung,pin-function = <0>;
		samsung,pin-pud = <0>;
		samsung,pin-drv = <0>;
	};
};

&pinctrl_5 {
	/* PERIC1 USI17 front VT0 */
	/* No pull-up resistor, use internal one */
	hsi2c34_bus: hsi2c34-bus {
		samsung,pins = "gpp9-0", "gpp9-1";
		samsung,pin-function = <2>;
		samsung,pin-pud = <3>;
		samsung,pin-drv = <0>;
	};

	hsi2c34_bus_in: hsi2c34-bus-in {
		samsung,pins = "gpp9-0", "gpp9-1";
		samsung,pin-function = <0>;
		samsung,pin-pud = <0>;
		samsung,pin-drv = <0>;
	};
};

/* PERIC0 USI15 REAR main */
&hsi2c_30 {
	#address-cells = <1>;
	#size-cells = <0>;
	gpios = <&gpp4 0 0 &gpp4 1 0>;
	status = "okay";
	clock-frequency = <1000000>;

	pinctrl-names = "default","on_i2c","off_i2c";
	pinctrl-0 = <&hsi2c30_bus_in>;
	pinctrl-1 = <&hsi2c30_bus>;
	pinctrl-2 = <&hsi2c30_bus_in>;

	is-gm1sp@2D {
		compatible = "samsung,exynos-is-cis-gm1sp";
		reg = <0x2D>;
		id = <0>; /* matching sensor id */
		setfile = "setB";
	};

	is-actuator@72 {
		compatible = "samsung,exynos-is-actuator-dw9839";
		reg = <0x0C>;
		id = <0>; /* matching is_sensor id */
		place = <0>;
	};
};

/* PERIC0 USI15_I2C REAR sub */
&hsi2c_31 {
	#address-cells = <1>;
	#size-cells = <0>;
	gpios = <&gpp4 2 0 &gpp4 3 0>;
	status = "okay";
	clock-frequency = <1000000>;

	pinctrl-names = "default","on_i2c","off_i2c";
	pinctrl-0 = <&hsi2c31_bus_in>;
	pinctrl-1 = <&hsi2c31_bus>;
	pinctrl-2 = <&hsi2c31_bus_in>;

	is-5e9@10 {
		compatible = "samsung,exynos-is-cis-5e9";
		reg = <0x10>;
		id = <2>; /* matching sensor id */
		setfile = "setB";
	};
};

/* PERIC1 USI17 front VT0  */
&hsi2c_34 {
	#address-cells = <1>;
	#size-cells = <0>;
	gpios = <&gpp9 0 0 &gpp9 1 0>;
	status = "okay";
	clock-frequency = <400000>;

	pinctrl-names = "default","on_i2c","off_i2c";
	pinctrl-0 = <&hsi2c34_bus_in>;
	pinctrl-1 = <&hsi2c34_bus>;
	pinctrl-2 = <&hsi2c34_bus_in>;

	is-4h5yc@36 {
		compatible = "samsung,exynos-is-cis-4h5yc";
		reg = <0x36>;
		id = <1>; /* matching sensor id */
		setfile = "setB";
	};
};

&is_sensor0 {
	#address-cells = <1>;
	#size-cells = <1>;
	scenario = <SENSOR_SCENARIO_NORMAL>;	/* Normal, Vision, OIS etc */
	id = <0>;
	csi_ch = <0>;
	dma_ch = <0 0 0 0>;
	vc_ch = <0 1 2 3>;
	flite_ch = <FLITE_ID_NOTHING>;
	is_bns = <0>;
	status = "okay";
};

&is_sensor1 {
	#address-cells = <1>;
	#size-cells = <1>;
	reg = <0x0 0x17050000 0x1000>, /* MIPI-CSI2 */
		<0x0 0x170D0000 0x10000>; /* PHY: M0S4S4S4S4S4S2 */
	phys = <&mipi_phy_csis2_m0s4s4s4s4s4s2 0>;
	scenario = <SENSOR_SCENARIO_NORMAL>;    /* Normal, Vision, OIS etc */
	id = <1>;
	csi_ch = <2>;
	dma_ch = <1 1 1 1>;
	vc_ch = <0 1 2 3>;
	flite_ch = <FLITE_ID_NOTHING>;
	is_bns = <0>;
	status = "okay";

	interrupts = <0 INTREQ__CSIS2 IRQ_TYPE_LEVEL_HIGH>, /* MIPI-CSI2 */
		<0 INTREQ__CSIS_DMA1 IRQ_TYPE_LEVEL_HIGH>,
		<0 INTREQ__CSIS_DMA1 IRQ_TYPE_LEVEL_HIGH>,
		<0 INTREQ__CSIS_DMA1 IRQ_TYPE_LEVEL_HIGH>,
		<0 INTREQ__CSIS_DMA1 IRQ_TYPE_LEVEL_HIGH>;

	/* without PAF HW */
	sensor1_ch_mode0: sensor1-ch-mode0 {
		reg = <0x170C2000 0x100>, /* DMA1 VC0 */
			<0x170C2400 0x100>, /* DMA1 Common */
			<0x170C2100 0x100>, /* DMA1 VC1 */
			<0x170C2400 0x100>, /* DMA1 Common */
			<0x170C2200 0x100>, /* DMA1 VC2 */
			<0x170C2400 0x100>, /* DMA1 Common */
			<0x170C2300 0x100>, /* DMA1 VC3 */
			<0x170C2400 0x100>; /* DMA1 Common */
		mux_reg = <0x17020418 0x4>; /* DMA1 input mux */
	};
};

&is_sensor2 {
	#address-cells = <1>;
	#size-cells = <1>;
	reg = <0x0 0x17040000 0x1000>, /* MIPI-CSI1 */
		<0x0 0x170D0000 0x10000>; /* PHY: M0S4S4S4S4S4S2 */
	phys = <&mipi_phy_csis1_m0s4s4s4s4s4s2 0>;
	scenario = <SENSOR_SCENARIO_NORMAL>;    /* Normal, Vision, OIS etc */
	id = <2>;
	csi_ch = <1>;
	dma_ch = <2 2 2 2>;
	vc_ch = <0 1 2 3>;
	flite_ch = <FLITE_ID_NOTHING>;
	is_bns = <0>;
	status = "okay";

	interrupts = <0 INTREQ__CSIS1 IRQ_TYPE_LEVEL_HIGH>, /* MIPI-CSI1 */
		<0 INTREQ__CSIS_DMA2 IRQ_TYPE_LEVEL_HIGH>,
		<0 INTREQ__CSIS_DMA2 IRQ_TYPE_LEVEL_HIGH>,
		<0 INTREQ__CSIS_DMA2 IRQ_TYPE_LEVEL_HIGH>,
		<0 INTREQ__CSIS_DMA2 IRQ_TYPE_LEVEL_HIGH>;

	/* without PAF HW */
	sensor2_ch_mode0: sensor2-ch-mode0 {
		reg = <0x170C3000 0x100>, /* DMA2 VC0 */
			<0x170C3400 0x100>, /* DMA2 Common */
			<0x170C3100 0x100>, /* DMA2 VC1 */
			<0x170C3400 0x100>, /* DMA2 Common */
			<0x170C3200 0x100>, /* DMA2 VC2 */
			<0x170C3400 0x100>, /* DMA2 Common */
			<0x170C3300 0x100>, /* DMA2 VC3 */
			<0x170C3400 0x100>; /* DMA2 Common */
		mux_reg = <0x1702041C 0x4>; /* DMA2 input mux */
	};
};

&is_sensor3 {
	#address-cells = <1>;
	#size-cells = <1>;
	scenario = <SENSOR_SCENARIO_NORMAL>;    /* Normal, Vision, OIS etc */
	id = <3>;
	csi_ch = <4>;
	dma_ch = <3 3 3 3>;
	vc_ch = <0 1 2 3>;
	flite_ch = <FLITE_ID_NOTHING>;
	is_bns = <0>;
	status = "disabled";
};

&is_sensor4 {
	#address-cells = <1>;
	#size-cells = <1>;
	scenario = <SENSOR_SCENARIO_NORMAL>;    /* Normal, Vision, OIS etc */
	id = <4>;
	csi_ch = <1>;
	dma_ch = <1 1 1 1>;
	vc_ch = <0 1 2 3>;
	flite_ch = <FLITE_ID_NOTHING>;
	is_bns = <0>;
	status = "disabled";
};

&is_sensor5 {
	#address-cells = <1>;
	#size-cells = <1>;
	scenario = <SENSOR_SCENARIO_NORMAL>;    /* Normal, Vision, OIS etc */
	id = <1>;
	csi_ch = <1>;
	dma_ch = <1 1 1 1>;
	vc_ch = <0 1 2 3>;
	flite_ch = <FLITE_ID_NOTHING>;
	is_bns = <0>;
	status = "disabled";
};
